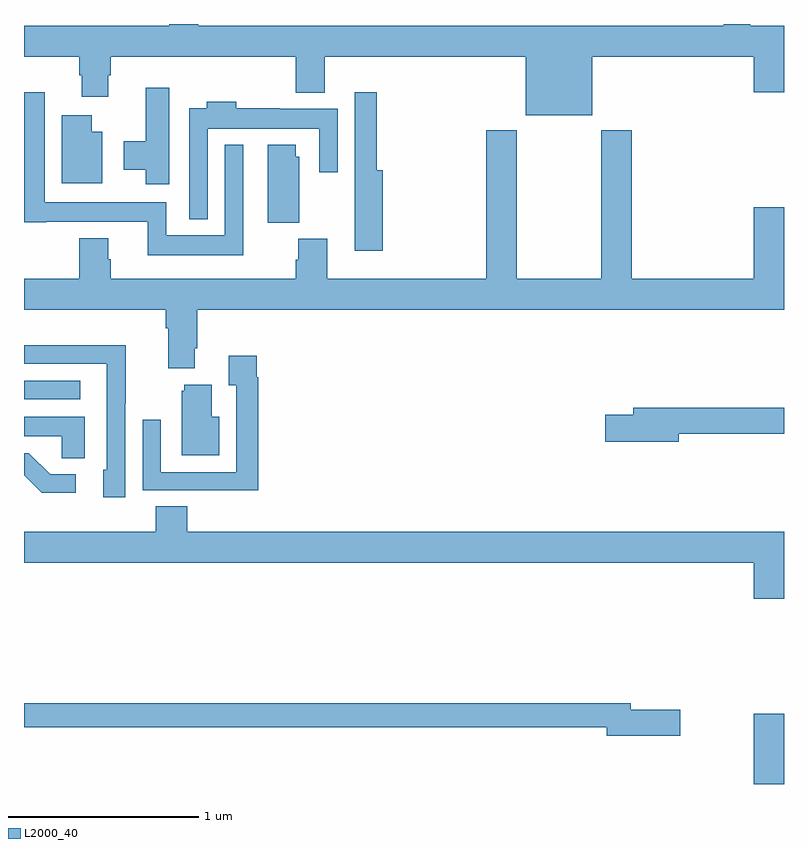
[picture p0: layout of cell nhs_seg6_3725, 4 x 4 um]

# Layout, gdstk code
import gdstk
lib = gdstk.Library(unit=1e-6, precision=1e-09)
def R(c, l, rs):  # rectangles x0, y0, x1, y1
    for r in rs: c.add(gdstk.rectangle(r[:2], r[2:], *l))
def P(c, l, *ps):  # polygons
    for p in ps: c.add(gdstk.Polygon(p, *l))
L2000_40 = (2000, 40)

nhs_seg6_3725 = lib.new_cell('nhs_seg6_3725')
R(nhs_seg6_3725, L2000_40, [(332.84,951.5,333,951.871), (329,953.526,329.296,953.622)])
P(nhs_seg6_3725, L2000_40, [(331.99,955.328),(332.84,955.328),(332.84,955.14),(333,955.14),(333,955.492),(332.823,955.492),(332.823,955.5),(332.684,955.5),(332.684,955.492),(329.917,955.492),(329.917,955.5),(329.765,955.5),(329.765,955.492),(329,955.492),(329,955.328),(329.291,955.328),(329.291,955.23),(329.303,955.23),(329.303,955.116),(329.443,955.116),(329.443,955.23),(329.456,955.23),(329.456,955.328),(330.431,955.328),(330.431,955.139),(330.583,955.139),(330.583,955.328),(331.64,955.328),(331.64,955.019),(331.99,955.019)],
  [(329.764,955.165),(329.642,955.165),(329.642,954.882),(329.525,954.882),(329.525,954.734),(329.642,954.734),(329.642,954.657),(329.764,954.657)],
  [(330.154,954.865),(330.057,954.865),(330.057,954.388),(329.748,954.388),(329.748,954.562),(329.109,954.562),(329.109,955.141),(329,955.141),(329,954.456),(329.116,954.456),(329.116,954.458),(329.651,954.458),(329.651,954.284),(330.154,954.284)],
  [(330.887,954.73),(330.857,954.73),(330.857,955.141),(330.741,955.141),(330.741,954.626),(330.74,954.626),(330.74,954.306),(330.887,954.306)],
  [(329.967,954.95),(330.555,954.95),(330.555,954.72),(330.651,954.72),(330.651,955.054),(330.347,955.054),(330.347,955.057),(330.116,955.057),(330.116,955.09),(329.963,955.09),(329.963,955.057),(329.871,955.057),(329.871,954.473),(329.967,954.473)],
  [(329.413,954.934),(329.356,954.934),(329.356,955.021),(329.198,955.021),(329.198,954.662),(329.413,954.662)],
  [(329.899,953.794),(329.912,953.794),(329.912,953.996),(333,953.996),(333,954.535),(332.84,954.535),(332.84,954.16),(332.198,954.16),(332.198,954.94),(332.038,954.94),(332.038,954.16),(331.593,954.16),(331.593,954.94),(331.433,954.94),(331.433,954.16),(330.596,954.16),(330.596,954.369),(330.443,954.369),(330.443,954.26),(330.431,954.26),(330.431,954.16),(329.456,954.16),(329.456,954.261),(329.443,954.261),(329.443,954.373),(329.291,954.373),(329.291,954.16),(329,954.16),(329,953.996),(329.747,953.996),(329.747,953.9),(329.759,953.9),(329.759,953.687),(329.899,953.687)],
  [(330.448,954.801),(330.43,954.801),(330.43,954.865),(330.284,954.865),(330.284,954.454),(330.448,954.454)],
  [(329.532,953.503),(329.535,953.503),(329.535,953.81),(329.071,953.81),(329.071,953.808),(329,953.808),(329,953.712),(329.436,953.712),(329.436,953.154),(329.417,953.154),(329.417,953.01),(329.532,953.01)],
  [(330.233,953.642),(330.226,953.642),(330.226,953.755),(330.077,953.755),(330.077,953.599),(330.117,953.599),(330.117,953.142),(329.721,953.142),(329.721,953.416),(329.625,953.416),(329.625,953.046),(329.941,953.046),(329.941,953.045),(330.233,953.045)],
  [(330.028,953.434),(329.989,953.434),(329.989,953.602),(329.843,953.602),(329.843,953.571),(329.831,953.571),(329.831,953.231),(330.028,953.231)],
  [(332.446,953.344),(333,953.344),(333,953.48),(332.207,953.48),(332.207,953.444),(332.058,953.444),(332.058,953.302),(332.446,953.302)],
  [(329.32,953.434),(329,953.434),(329,953.33),(329.199,953.33),(329.199,953.215),(329.32,953.215)],
  [(329.272,953.13),(329.137,953.13),(329.026,953.241),(329,953.241),(329,953.125),(329.093,953.033),(329.272,953.033)],
  [(333,952.828),(329.858,952.828),(329.858,952.961),(329.693,952.961),(329.693,952.828),(329,952.828),(329,952.664),(332.84,952.664),(332.84,952.476),(333,952.476)],
  [(332.455,951.89),(332.194,951.89),(332.194,951.926),(329,951.926),(329,951.798),(332.066,951.798),(332.066,951.755),(332.455,951.755)])

lib.write_gds('nhs_seg6_3725.gds')
